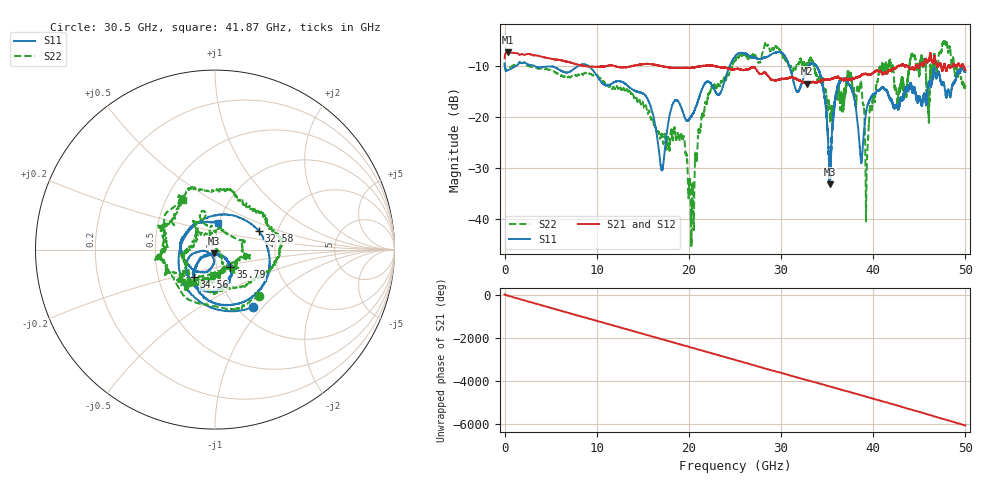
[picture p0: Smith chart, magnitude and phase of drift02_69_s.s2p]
!Created with skrf (http://scikit-rf.org).
# Hz S RI R 50.0
!freq ReS11 ImS11 ReS21 ImS21 ReS12 ImS12 ReS22 ImS22
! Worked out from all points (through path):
!   10001 points, 300 kHz to 50 GHz, reference 50 ohm
!   highest |S21| = -7.32 dB at 325.3 MHz (marker M1); lowest = -13.4 dB at 32.76 GHz (marker M2)
!   group delay of S21, straight-line fit = 335 ps
!   lowest |S11| = -33.3 dB at 35.28 GHz (marker M3), VSWR 1.04, Z = 49.5 - j2.12 ohm
!   |S11| at or under -10 dB: 3.23 GHz to 8.002 GHz (4.773 GHz wide, 85 % of centre); 9.103 GHz to 24.42 GHz (15.31 GHz wide, 91.4 % of centre); 33.83 GHz to end of sweep (the widest 3 of 9)
!   |S22| runs from -45.4 to -5.0 dB; largest |S21 - S12| = 0.016
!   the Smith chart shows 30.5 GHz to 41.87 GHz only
!   S11 on the Smith chart (normalised r, x): 30.5 GHz: 1.17, -0.88; 32.58 GHz: 1.60, +0.35; 34.56 GHz: 0.76, -0.24; 35.79 GHz: 1.16, -0.23; 41.87 GHz: 0.99, +0.30
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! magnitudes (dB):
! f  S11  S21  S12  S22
! 300 kHz  -9.5  -8.5  -8.5  -9.5
! 325.3 MHz  -10.9  -7.3  -7.3  -10.6
! 8.335 GHz  -9.7  -9.9  -9.9  -11.6
! 16.67 GHz  -25.5  -9.9  -9.9  -22.9
! 19.31 GHz  -18.9  -10.4  -10.3  -24.5
! 20.35 GHz  -19.5  -10.4  -10.3  -34.9
! 21.94 GHz  -13.1  -10.0  -10.0  -17.3
! 25 GHz  -8.2  -10.6  -10.6  -9.0
! 30.5 GHz  -8.3  -12.5  -12.4  -9.0
! 32.58 GHz  -11.5  -13.2  -13.3  -10.1
! 32.76 GHz  -10.8  -13.4  -13.4  -9.4
! 33.34 GHz  -9.5  -13.2  -13.2  -8.9
! 34.56 GHz  -14.2  -12.8  -12.7  -12.9
! 35.28 GHz  -33.3  -12.6  -12.6  -18.8
! 35.79 GHz  -17.7  -12.3  -12.3  -17.4
! 37.25 GHz  -13.2  -12.6  -12.6  -11.6
! 38.54 GHz  -25.9  -12.0  -12.0  -14.3
! 39.32 GHz  -18.1  -11.6  -11.6  -29.1
! 41.67 GHz  -15.9  -10.9  -11.1  -9.7
! 41.87 GHz  -16.6  -10.9  -10.9  -9.7
! 47.77 GHz  -14.5  -9.8  -9.7  -5.5
! 50 GHz  -11.2  -10.8  -10.8  -14.0
